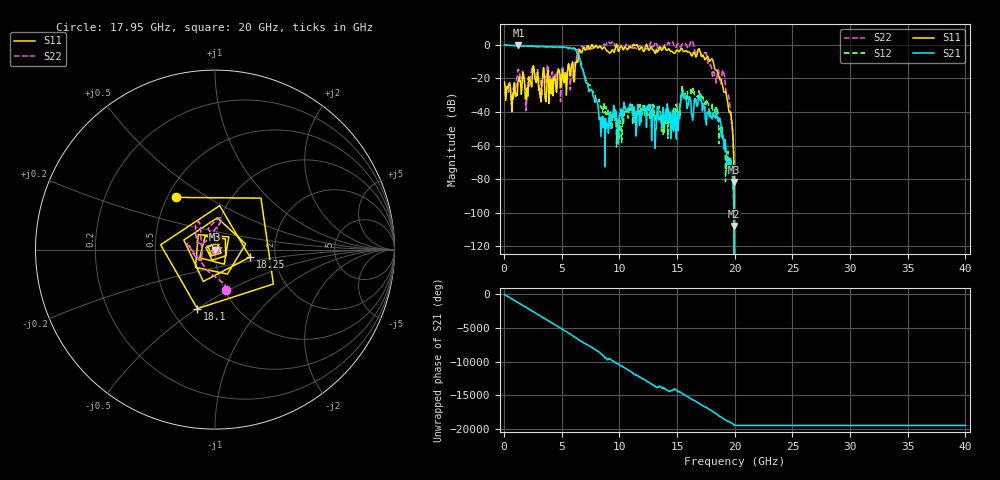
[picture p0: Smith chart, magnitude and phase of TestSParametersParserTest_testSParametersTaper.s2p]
! File created by SignalIntegrity v1.5.1: Signal and Power Integrity Tools
! https://github.com/Nubis-Communications/SignalIntegrity
# MHz S MA R 50.0
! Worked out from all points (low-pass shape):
!   800 points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, 50 MHz to 40 GHz, reference 50 ohm
!   highest |S21| = 0.07 dB at 1.25 GHz (marker M1); lowest = -108.0 dB at 19.95 GHz (marker M2)
!   |S21| within 3 dB of the highest: start of sweep to 6.182 GHz
!   lowest |S11| = -81.7 dB at 19.95 GHz (marker M3), VSWR 1.00, Z = 50 + j0.000513 ohm
!   |S11| at or under -10 dB: start of sweep to 6.25 GHz; 6.331 GHz to 6.403 GHz (71.64 MHz wide, 1.13 % of centre); 18.13 GHz to end of sweep
!   |S22| runs from - to 2.7 dB; largest |S21 - S12| = 0.12
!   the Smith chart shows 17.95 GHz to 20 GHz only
!   S11 on the Smith chart (normalised r, x): 17.95 GHz: 0.55, +0.37; 18.1 GHz: 0.67, -0.50; 18.25 GHz: 1.48, -0.13; 20 GHz: 1.00, +0.00
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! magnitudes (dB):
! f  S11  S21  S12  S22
! 50 MHz  -22.2  0.0  0.0  -30.2
! 1.25 GHz  -21.4  0.1  0.3  -14.5
! 2.05 GHz  -30.7  -0.6  -0.6  -22.2
! 2.5 GHz  -14.2  -0.9  -0.9  -12.5
! 5.9 GHz  -10.7  -2.4  -2.4  -13.1
! 6.75 GHz  -4.7  -13.8  -12.6  -0.8
! 8.55 GHz  -2.4  -49.3  -39.4  -0.2
! 9.95 GHz  -3.8  -47.4  -44.6  -0.9
! 13.4 GHz  -2.7  -44.8  -39.3  -3.4
! 14.9 GHz  -3.9  -51.5  -35.8  -1.7
! 15.6 GHz  -3.8  -31.3  -29.0  0.6
! 17.95 GHz  -8.8  -43.2  -39.3  -12.7
! 18.1 GHz  -9.3  -40.8  -38.6  -18.6
! 18.25 GHz  -14.0  -43.0  -40.2  -18.1
! 19.15 GHz  -27.8  -56.4  -56.6  -20.6
! 19.65 GHz  -40.1  -67.5  -75.7  -41.9
! 19.95 GHz  -81.7  -108.0  -120.0  -72.1
! 20 GHz  -  -  -  -
! 20.05 GHz  -  -  -  -
! 26.7 GHz  -  -  -  -
! 33.35 GHz  -  -  -  -
! 40 GHz  -  -  -  -
